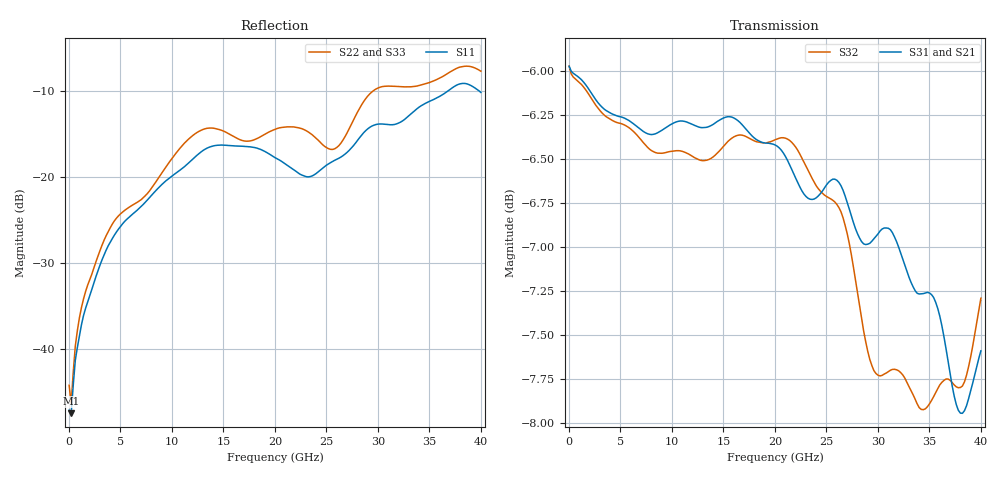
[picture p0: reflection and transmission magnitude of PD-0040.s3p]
! MARKI MICROWAVE INC.
! Email:  info@markimicrowave.com  Phone:  408-778-4200
! Model Number:  PD-0040  Date:  10/12
! Filename:		PD_0040.S3P  Version: 1.0
! Description:  3-port S-parameter data for Power Divider PD-0040
! Frequency Measured: 	10 MHz to 40 GHz
! Port Configuration:	PORT 1: COMMON, PORT 2 and Port 3: Output
! S3P File: Measurements: Mag<S11> Ang<S11> Mag<S12> Ang<S12> Mag<S13> Ang<S13>! row 1
!  Mag<S21> Ang<S21> Mag<S22> Ang<S22> Mag<S23> Ang<S23>! row 2
!  Mag<S31> Ang<S31> Mag<S32> Ang<S32> Mag<S33> Ang<S33>! row 3
# GHz S DB R 50
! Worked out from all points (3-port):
!   201 points, 10 MHz to 40 GHz, reference 50 ohm
!   strongest paths, dB at 10 MHz, 10.01 GHz, 20.01 GHz, 30.01 GHz, 40 GHz:
!     S31: -6.0, -6.3, -6.4, -6.9, -7.6
!     S21: -6.0, -6.3, -6.4, -6.9, -7.6
!     S32: -6.0, -6.5, -6.4, -7.7, -7.3
!   lowest |S11| = -47.5 dB at 210 MHz (marker M1), VSWR 1.01, Z = 49.8 + j0.363 ohm
!   |S11| at or under -10 dB: start of sweep to 36.81 GHz; 39.82625 GHz to end of sweep
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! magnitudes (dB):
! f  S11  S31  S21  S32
! 10 MHz  -47.1  -6.0  -6.0  -6.0
! 210 MHz  -47.5  -6.0  -6.0  -6.0
! 610 MHz  -41.3  -6.0  -6.0  -6.0
! 1.41 GHz  -36.1  -6.1  -6.1  -6.1
! 5.21 GHz  -25.4  -6.3  -6.3  -6.3
! 12.61 GHz  -17.3  -6.3  -6.3  -6.5
! 20.01 GHz  -17.8  -6.4  -6.4  -6.4
! 25.61 GHz  -18.2  -6.6  -6.6  -6.7
! 29.81 GHz  -13.9  -6.9  -6.9  -7.7
! 40 GHz  -10.2  -7.6  -7.6  -7.3
